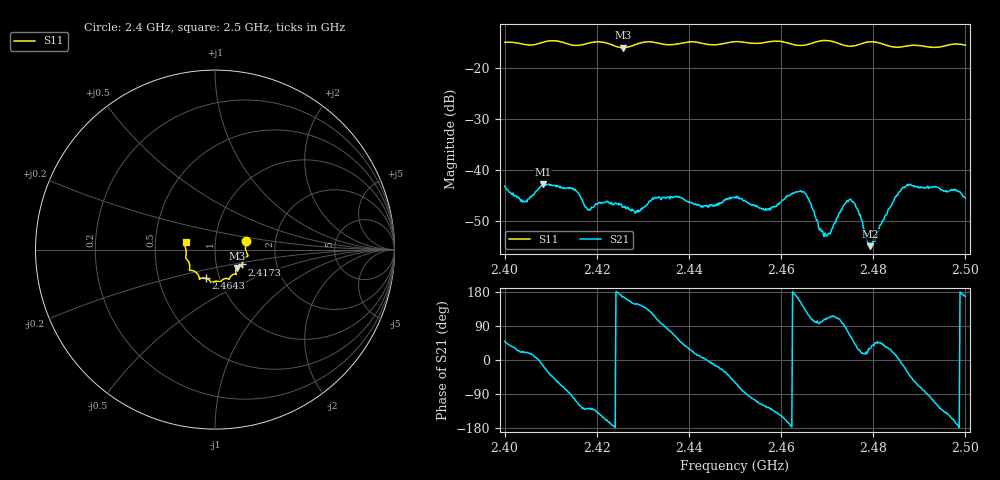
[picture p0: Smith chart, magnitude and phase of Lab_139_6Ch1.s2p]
# Hz S RI R 50
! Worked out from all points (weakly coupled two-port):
!   601 points, 2.4 GHz to 2.5 GHz, reference 50 ohm
!   highest |S21| = -42.67 dB at 2.4083 GHz (marker M1); lowest = -54.9 dB at 2.4793 GHz (marker M2)
!   lowest |S11| = -15.9 dB at 2.4257 GHz (marker M3), VSWR 1.38, Z = 62.4 - j13.1 ohm
!   |S11| at or under -10 dB: start of sweep to end of sweep
!   S12 and S22 are empty: the file has one direction only
!   S11 on the Smith chart (normalised r, x): 2.4 GHz: 1.41, +0.14; 2.4173 GHz: 1.34, -0.23; 2.4643 GHz: 0.86, -0.28; 2.5 GHz: 0.72, +0.06
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2.4e9  0.1737 0.0491  0.00457 0.00535  0 0  0 0
2.404333e9  0.1706 0.0211  0.0046 0.00166  0 0  0 0
2.408333e9  0.1794 -0.0236  0.0071 -0.00192  0 0  0 0
2.414833e9  0.1599 -0.0544  -0.00105 -0.00643  0 0  0 0
2.416667e9  0.1527 -0.0751  -0.00291 -0.00436  0 0  0 0
2.417333e9  0.1521 -0.0825  -0.0029 -0.00346  0 0  0 0
2.425667e9  0.1223 -0.1023  -0.00422 0.000942  0 0  0 0
2.428833e9  0.1155 -0.1304  -0.00331 0.00205  0 0  0 0
2.433333e9  0.1126 -0.1365  -0.00136 0.00529  0 0  0 0
2.443e9  0.0694 -0.1618  0.00433 0.000391  0 0  0 0
2.45e9  0.0296 -0.1806  0.00276 -0.00459  0 0  0 0
2.457e9  -0.014 -0.181  -0.00237 -0.00334  0 0  0 0
2.464333e9  -0.0502 -0.1603  -0.00551 0.00309  0 0  0 0
2.466667e9  -0.0763 -0.1594  -0.00126 0.00415  0 0  0 0
2.469667e9  -0.0876 -0.1666  -0.000768 0.00225  0 0  0 0
2.473833e9  -0.0961 -0.1376  5.57e-05 0.00469  0 0  0 0
2.475333e9  -0.1098 -0.1237  0.00272 0.00416  0 0  0 0
2.479333e9  -0.1419 -0.1149  0.00156 0.000913  0 0  0 0
2.483333e9  -0.1405 -0.0895  0.00364 0.00208  0 0  0 0
2.487667e9  -0.159 -0.0526  0.00575 -0.00417  0 0  0 0
2.497833e9  -0.171 0.0307  -0.00612 -0.00156  0 0  0 0
2.5e9  -0.1636 0.0419  -0.00522 0.00111  0 0  0 0
